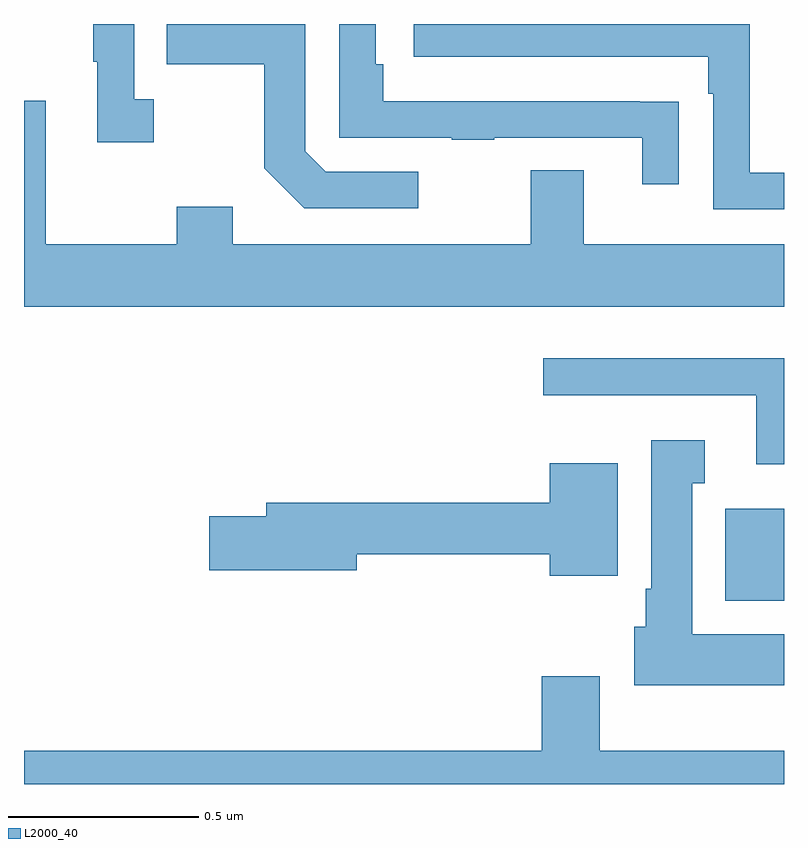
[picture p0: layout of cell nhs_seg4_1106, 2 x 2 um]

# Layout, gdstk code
import gdstk
lib = gdstk.Library(unit=1e-6, precision=1e-09)
def R(c, l, rs):  # rectangles x0, y0, x1, y1
    for r in rs: c.add(gdstk.rectangle(r[:2], r[2:], *l))
def P(c, l, *ps):  # polygons
    for p in ps: c.add(gdstk.Polygon(p, *l))
L2000_40 = (2000, 40)

nhs_seg4_1106 = lib.new_cell('nhs_seg4_1106')
R(nhs_seg4_1106, L2000_40, [(125.846,793.382,126,793.624)])
P(nhs_seg4_1106, L2000_40, [(126,794.508),(125.91,794.508),(125.91,794.9),(125.025,794.9),(125.025,794.814),(125.801,794.814),(125.801,794.717),(125.814,794.717),(125.814,794.412),(126,794.412)],
  [(125.723,794.696),(125.621,794.696),(125.621,794.697),(124.946,794.697),(124.946,794.794),(124.926,794.794),(124.926,794.9),(124.83,794.9),(124.83,794.601),(125.125,794.601),(125.125,794.596),(125.237,794.596),(125.237,794.601),(125.627,794.601),(125.627,794.478),(125.723,794.478)],
  [(125.038,794.511),(124.794,794.511),(124.74,794.565),(124.74,794.9),(124.375,794.9),(124.375,794.794),(124.632,794.794),(124.632,794.521),(124.737,794.415),(125.038,794.415)],
  [(124.342,794.702),(124.29,794.702),(124.29,794.9),(124.182,794.9),(124.182,794.801),(124.193,794.801),(124.193,794.589),(124.342,794.589)],
  [(126,794.32),(125.473,794.32),(125.473,794.515),(125.333,794.515),(125.333,794.32),(124.549,794.32),(124.549,794.419),(124.402,794.419),(124.402,794.32),(124.057,794.32),(124.057,794.698),(124,794.698),(124,794.156),(126,794.156)],
  [(126,794.02),(125.367,794.02),(125.367,793.923),(125.927,793.923),(125.927,793.742),(126,793.742)],
  [(126,793.294),(125.758,793.294),(125.758,793.691),(125.791,793.691),(125.791,793.804),(125.651,793.804),(125.651,793.414),(125.636,793.414),(125.636,793.314),(125.606,793.314),(125.606,793.16),(126,793.16)],
  [(125.563,793.744),(125.384,793.744),(125.384,793.64),(124.637,793.64),(124.637,793.604),(124.488,793.604),(124.488,793.462),(124.876,793.462),(124.876,793.504),(125.384,793.504),(125.384,793.448),(125.563,793.448)],
  [(126,792.988),(125.515,792.988),(125.515,793.183),(125.363,793.183),(125.363,792.988),(124,792.988),(124,792.9),(126,792.9)])

lib.write_gds('nhs_seg4_1106.gds')
